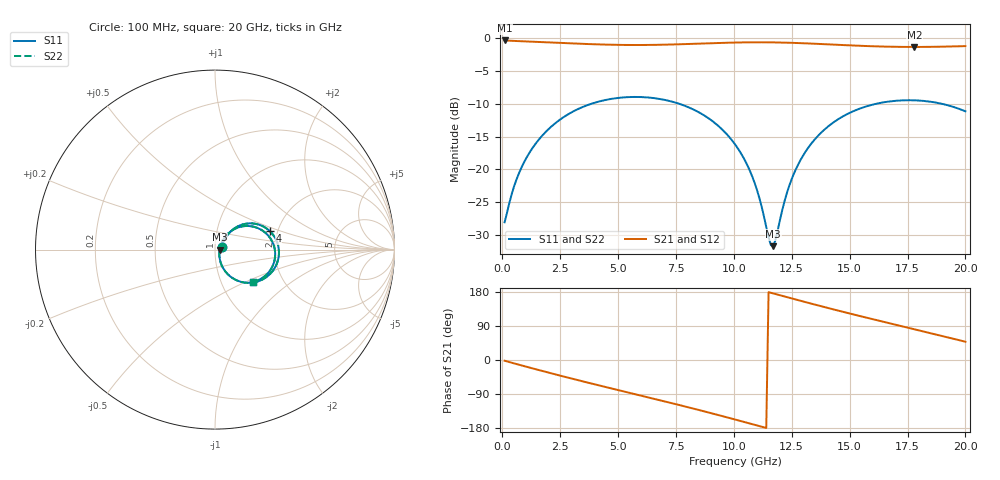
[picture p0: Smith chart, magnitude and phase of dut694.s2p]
! Touchstone file exported from HFSS 2026.1.0
!  File:  C:/ffzhzh/LocalFiles/Ansys_Project_Files/temp_train_TSV_RDL_694_1783135742_37876.aedt
!  Generated:  11:45:18 AM Jul  4, 2026
!  Design:  TSV_RDL
!  Project:  temp_train_TSV_RDL_694_1783135742_37876
! Variables:
!  h_bsmrdl = 2.82um
!  h_ox = 20um
!  h_rdl = 5um
!  h_sub = 83.45um
!  h_tmrdl = 2.24um
!  h_tsv = 83.45um
!  h_via = 3um
!  l_bsmrdl = 383.31um
!  l_sub = 5250.15um
!  l_tmrdl = 890.63um
!  m_sub = 200um
!  pitch = 33.92um
!  r_tsv = 2.8um
!  s_tmrdl = 10um
!  w_bsmrdl = 21.11um
!  w_sub = 500um
!  w_tmrdl = 24.79um
!  x_tsv_center1 = 903.025um
!  x_tsv_center2 = 1307.445um
!  x_tsv_center3 = 2222.865um
!  x_tsv_center4 = 2627.285um
!  x_tsv_center5 = 3542.705um
!  x_tsv_center6 = 3947.125um
# GHz S MA R 50.000000
! Terminal data exported
! Port[1] = TM_RDL1_1_T1
! Port[2] = TM_RDL5_1_T1
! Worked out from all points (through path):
!   200 points, 100 MHz to 20 GHz, reference 50 ohm
!   highest |S21| = -0.33 dB at 100 MHz (marker M1); lowest = -1.3 dB at 17.8 GHz (marker M2)
!   group delay of S21, straight-line fit = 43.4 ps
!   lowest |S11| = -31.7 dB at 11.7 GHz (marker M3), VSWR 1.05, Z = 52.7 - j0.00188 ohm
!   |S11| at or under -10 dB: start of sweep to 3.836 GHz; 7.65 GHz to 16.13 GHz (8.485 GHz wide, 71.3 % of centre); 19 GHz to end of sweep
!   |S22| runs from -31.8 to -8.9 dB; largest |S21 - S12| = 1.7e-14
!   S11 on the Smith chart (normalised r, x): 100 MHz: 1.08, +0.03; 4 GHz: 1.82, +0.42; 20 GHz: 1.41, -0.55
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0.1  0.03955 17.8  0.9627 -1.8  0.9627 -1.8  0.03955 17.8
! Gamma 0 0 0 0
! Port Impedance 50 0 50 0
0.6  0.08262 47.1  0.9533 -10.5  0.9533 -10.5  0.08263 47.1
1.3  0.1452 48.6  0.9419 -22.0  0.9419 -22.0  0.1452 48.6
2.3  0.226 39.8  0.9259 -38.1  0.9259 -38.1  0.226 39.8
3.5  0.3007 25.0  0.9067 -56.8  0.9067 -56.8  0.3007 25.0
4  0.323 18.4  0.9 -64.4  0.9 -64.4  0.323 18.4
5.4  0.3558 -0.3  0.8892 -85.3  0.8892 -85.3  0.3558 -0.3
6.8  0.3446 -19.3  0.8922 -106.1  0.8922 -106.1  0.3446 -19.4
8.7  0.2594 -45.5  0.913 -135.2  0.913 -135.2  0.2594 -45.5
10.1  0.1511 -63.0  0.9283 -157.8  0.9283 -157.8  0.1511 -63.1
10.9  0.07873 -66.4  0.932 -171.0  0.932 -171.0  0.07863 -66.5
11.2  0.05209 -60.6  0.9321 -176.0  0.9321 -176.0  0.05193 -60.9
11.5  0.03026 -36.7  0.9314 179.0  0.9314 179.0  0.03 -37.0
11.7  0.026 -0.0  0.9304 175.7  0.9304 175.7  0.02571 0.1
12.2  0.05816 47.6  0.9266 167.4  0.9266 167.4  0.05803 47.9
12.5  0.08452 51.4  0.9234 162.5  0.9234 162.5  0.08443 51.6
13.4  0.1618 46.0  0.9106 147.8  0.9106 147.8  0.1618 46.1
15  0.2698 25.9  0.8833 122.7  0.8833 122.7  0.2698 26.0
16.7  0.3295 3.2  0.8627 97.3  0.8627 97.3  0.3295 3.3
17.8  0.3366 -11.5  0.8587 81.1  0.8587 81.1  0.3365 -11.4
18.9  0.3189 -26.1  0.8624 64.8  0.8624 64.8  0.3189 -26.0
20  0.2773 -40.5  0.8718 48.2  0.8718 48.2  0.2773 -40.5
